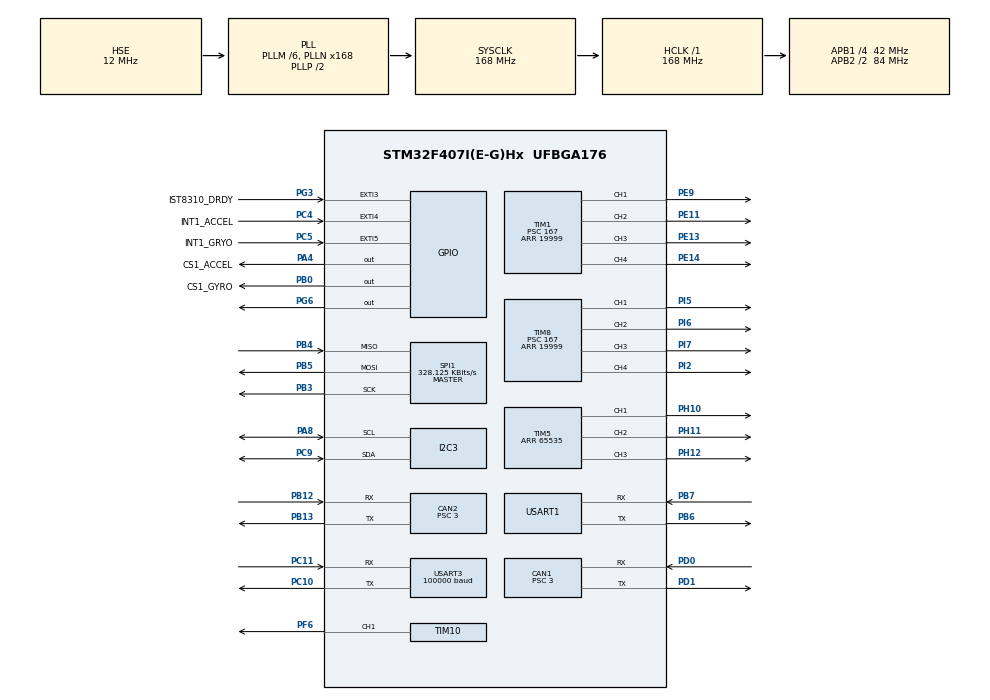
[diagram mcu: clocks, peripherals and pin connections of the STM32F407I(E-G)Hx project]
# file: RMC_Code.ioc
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CAN1.BS1=CAN_BS1_10TQ
CAN1.BS2=CAN_BS2_3TQ
CAN1.CalculateBaudRate=1000000
CAN1.CalculateTimeBit=999.99
CAN1.CalculateTimeQuantum=71.42857142857143
CAN1.Prescaler=3
CAN2.BS1=CAN_BS1_10TQ
CAN2.BS2=CAN_BS2_3TQ
CAN2.CalculateBaudRate=1000000
CAN2.CalculateTimeBit=999.99
CAN2.CalculateTimeQuantum=71.42857142857143
CAN2.Prescaler=3
Dma.Request0=USART3_RX
Dma.Request1=USART1_RX
Dma.Request2=USART1_TX
Dma.Request3=SPI1_RX
Dma.Request4=SPI1_TX
Dma.SPI1_RX.3.Direction=DMA_PERIPH_TO_MEMORY
Dma.SPI1_RX.3.FIFOMode=DMA_FIFOMODE_DISABLE
Dma.SPI1_RX.3.Instance=DMA2_Stream2
Dma.SPI1_RX.3.MemDataAlignment=DMA_MDATAALIGN_BYTE
Dma.SPI1_RX.3.MemInc=DMA_MINC_ENABLE
Dma.SPI1_RX.3.Mode=DMA_NORMAL
Dma.SPI1_RX.3.PeriphDataAlignment=DMA_PDATAALIGN_BYTE
Dma.SPI1_RX.3.PeriphInc=DMA_PINC_DISABLE
Dma.SPI1_RX.3.Priority=DMA_PRIORITY_VERY_HIGH
Dma.SPI1_TX.4.Direction=DMA_MEMORY_TO_PERIPH
Dma.SPI1_TX.4.FIFOMode=DMA_FIFOMODE_DISABLE
Dma.SPI1_TX.4.Instance=DMA2_Stream3
Dma.SPI1_TX.4.MemDataAlignment=DMA_MDATAALIGN_BYTE
Dma.SPI1_TX.4.MemInc=DMA_MINC_ENABLE
Dma.SPI1_TX.4.Mode=DMA_NORMAL
Dma.SPI1_TX.4.PeriphDataAlignment=DMA_PDATAALIGN_BYTE
Dma.SPI1_TX.4.PeriphInc=DMA_PINC_DISABLE
Dma.SPI1_TX.4.Priority=DMA_PRIORITY_VERY_HIGH
Dma.USART1_RX.1.Direction=DMA_PERIPH_TO_MEMORY
Dma.USART1_RX.1.FIFOMode=DMA_FIFOMODE_DISABLE
Dma.USART1_RX.1.Instance=DMA2_Stream5
Dma.USART1_RX.1.MemDataAlignment=DMA_MDATAALIGN_BYTE
Dma.USART1_RX.1.MemInc=DMA_MINC_ENABLE
Dma.USART1_RX.1.Mode=DMA_NORMAL
Dma.USART1_RX.1.PeriphDataAlignment=DMA_PDATAALIGN_BYTE
Dma.USART1_RX.1.PeriphInc=DMA_PINC_DISABLE
Dma.USART1_RX.1.Priority=DMA_PRIORITY_MEDIUM
Dma.USART1_TX.2.Direction=DMA_MEMORY_TO_PERIPH
Dma.USART1_TX.2.FIFOMode=DMA_FIFOMODE_DISABLE
Dma.USART1_TX.2.Instance=DMA2_Stream7
Dma.USART1_TX.2.MemDataAlignment=DMA_MDATAALIGN_BYTE
Dma.USART1_TX.2.MemInc=DMA_MINC_ENABLE
Dma.USART1_TX.2.Mode=DMA_CIRCULAR
Dma.USART1_TX.2.PeriphDataAlignment=DMA_PDATAALIGN_BYTE
Dma.USART1_TX.2.PeriphInc=DMA_PINC_DISABLE
Dma.USART1_TX.2.Priority=DMA_PRIORITY_MEDIUM
Dma.USART3_RX.0.Direction=DMA_PERIPH_TO_MEMORY
Dma.USART3_RX.0.FIFOMode=DMA_FIFOMODE_DISABLE
Dma.USART3_RX.0.Instance=DMA1_Stream1
Dma.USART3_RX.0.MemDataAlignment=DMA_MDATAALIGN_BYTE
Dma.USART3_RX.0.MemInc=DMA_MINC_ENABLE
Dma.USART3_RX.0.Mode=DMA_CIRCULAR
Dma.USART3_RX.0.PeriphDataAlignment=DMA_PDATAALIGN_BYTE
Dma.USART3_RX.0.PeriphInc=DMA_PINC_DISABLE
Dma.USART3_RX.0.Priority=DMA_PRIORITY_VERY_HIGH
FREERTOS.Tasks01=ChassisTask,48,256,ChassisTask_callback,Default,NULL,Dynamic,NULL,NULL;RemoteTask,48,128,RemoteTask_callback,Default,NULL,Dynamic,NULL,NULL;Arm_Gimbal_Task,24,256,Arm_Gimbal_Task_callback,Default,NULL,Dynamic,NULL,NULL
I2C3.I2C_Mode=I2C_Fast
Mcu.Family=STM32F4
Mcu.Name=STM32F407I(E-G)Hx
Mcu.Package=UFBGA176
NVIC.CAN1_RX0_IRQn=true\:5\:0\:false\:false\:true\:true\:true\:true
NVIC.CAN2_RX0_IRQn=true\:5\:0\:false\:false\:true\:true\:true\:true
NVIC.DMA1_Stream1_IRQn=true\:5\:0\:false\:false\:true\:true\:false\:true
NVIC.DMA2_Stream2_IRQn=true\:5\:0\:false\:false\:true\:false\:false\:true
NVIC.DMA2_Stream3_IRQn=true\:5\:0\:false\:false\:true\:true\:false\:true
NVIC.DMA2_Stream5_IRQn=true\:5\:0\:false\:false\:true\:false\:false\:true
NVIC.DMA2_Stream7_IRQn=true\:5\:0\:false\:false\:true\:true\:false\:true
NVIC.PriorityGroup=NVIC_PRIORITYGROUP_4
NVIC.TIM2_IRQn=true\:0\:0\:false\:false\:true\:false\:false\:true
NVIC.TIM8_TRG_COM_TIM14_IRQn=true\:5\:0\:false\:false\:true\:false\:true\:true
NVIC.TimeBase=TIM2_IRQn
NVIC.TimeBaseIP=TIM2
NVIC.USART3_IRQn=true\:5\:0\:false\:false\:false\:false\:true\:true
PA13.Mode=Serial_Wire
PA13.Signal=SYS_JTMS-SWDIO
PA14.Mode=Serial_Wire
PA14.Signal=SYS_JTCK-SWCLK
PA4.GPIO_Label=CS1_ACCEL
PA4.GPIO_PuPd=GPIO_PULLUP
PA4.GPIO_Speed=GPIO_SPEED_FREQ_VERY_HIGH
PA4.PinState=GPIO_PIN_SET
PA4.Signal=GPIO_Output
PA8.Mode=I2C
PA8.Signal=I2C3_SCL
PB0.GPIO_Label=CS1_GYRO
PB0.GPIO_PuPd=GPIO_PULLUP
PB0.GPIO_Speed=GPIO_SPEED_FREQ_VERY_HIGH
PB0.PinState=GPIO_PIN_SET
PB0.Signal=GPIO_Output
PB12.Mode=CAN_Activate
PB12.Signal=CAN2_RX
PB13.Mode=CAN_Activate
PB13.Signal=CAN2_TX
PB3.Mode=Full_Duplex_Master
PB3.Signal=SPI1_SCK
PB4.Mode=Full_Duplex_Master
PB4.Signal=SPI1_MISO
PB5.Mode=Full_Duplex_Master
PB5.Signal=SPI1_MOSI
PB6.Mode=Asynchronous
PB6.Signal=USART1_TX
PB7.Mode=Asynchronous
PB7.Signal=USART1_RX
PC10.Mode=Asynchronous
PC10.Signal=USART3_TX
PC11.Mode=Asynchronous
PC11.Signal=USART3_RX
PC4.GPIO_Label=INT1_ACCEL
PC4.GPIO_PuPd=GPIO_PULLUP
PC4.Signal=GPXTI4
PC5.GPIO_Label=INT1_GRYO
PC5.GPIO_PuPd=GPIO_PULLUP
PC5.Signal=GPXTI5
PC9.Mode=I2C
PC9.Signal=I2C3_SDA
PD0.Mode=CAN_Activate
PD0.Signal=CAN1_RX
PD1.Mode=CAN_Activate
PD1.Signal=CAN1_TX
PE11.Signal=S_TIM1_CH2
PE13.Signal=S_TIM1_CH3
PE14.Signal=S_TIM1_CH4
PE9.Signal=S_TIM1_CH1
PF6.GPIO_PuPd=GPIO_PULLUP
PF6.GPIO_Speed=GPIO_SPEED_FREQ_MEDIUM
PF6.Signal=S_TIM10_CH1
PG3.GPIO_Label=IST8310_DRDY
PG3.GPIO_ModeDefaultEXTI=GPIO_MODE_IT_FALLING
PG3.GPIO_PuPd=GPIO_PULLUP
PG3.Signal=GPXTI3
PG6.Signal=GPIO_Output
PH0-OSC_IN.Mode=HSE-External-Oscillator
PH0-OSC_IN.Signal=RCC_OSC_IN
PH1-OSC_OUT.Mode=HSE-External-Oscillator
PH1-OSC_OUT.Signal=RCC_OSC_OUT
PH10.Signal=S_TIM5_CH1
PH11.Signal=S_TIM5_CH2
PH12.Signal=S_TIM5_CH3
PI2.Signal=S_TIM8_CH4
PI5.Signal=S_TIM8_CH1
PI6.Signal=S_TIM8_CH2
PI7.Signal=S_TIM8_CH3
ProjectManager.HeapSize=0x200
ProjectManager.StackSize=0x400
ProjectManager.TargetToolchain=SW4STM32
RCC.48MHZClocksFreq_Value=48000000
RCC.AHBFreq_Value=168000000
RCC.APB1CLKDivider=RCC_HCLK_DIV4
RCC.APB1Freq_Value=42000000
RCC.APB1TimFreq_Value=84000000
RCC.APB2CLKDivider=RCC_HCLK_DIV2
RCC.APB2Freq_Value=84000000
RCC.APB2TimFreq_Value=168000000
RCC.CortexFreq_Value=168000000
RCC.HCLKFreq_Value=168000000
RCC.HSE_VALUE=12000000
RCC.HSI_VALUE=16000000
RCC.LSE_VALUE=32768
RCC.PLLM=6
RCC.PLLN=168
RCC.PLLQ=7
RCC.PLLSourceVirtual=RCC_PLLSOURCE_HSE
RCC.SYSCLKFreq_VALUE=168000000
RCC.SYSCLKSource=RCC_SYSCLKSOURCE_PLLCLK
RCC.VCOOutputFreq_Value=336000000
SH.S_TIM10_CH1.0=TIM10_CH1,PWM Generation1 CH1
SH.S_TIM1_CH1.0=TIM1_CH1,PWM Generation1 CH1
SH.S_TIM1_CH2.0=TIM1_CH2,PWM Generation2 CH2
SH.S_TIM1_CH3.0=TIM1_CH3,PWM Generation3 CH3
SH.S_TIM1_CH4.0=TIM1_CH4,PWM Generation4 CH4
SH.S_TIM5_CH1.0=TIM5_CH1,PWM Generation1 CH1
SH.S_TIM5_CH2.0=TIM5_CH2,PWM Generation2 CH2
SH.S_TIM5_CH3.0=TIM5_CH3,PWM Generation3 CH3
SH.S_TIM8_CH1.0=TIM8_CH1,Output Compare1 CH1
SH.S_TIM8_CH2.0=TIM8_CH2,Output Compare2 CH2
SH.S_TIM8_CH3.0=TIM8_CH3,Output Compare3 CH3
SH.S_TIM8_CH4.0=TIM8_CH4,Output Compare4 CH4
SPI1.BaudRatePrescaler=SPI_BAUDRATEPRESCALER_256
SPI1.CLKPhase=SPI_PHASE_2EDGE
SPI1.CLKPolarity=SPI_POLARITY_HIGH
SPI1.CalculateBaudRate=328.125 KBits/s
SPI1.Direction=SPI_DIRECTION_2LINES
SPI1.Mode=SPI_MODE_MASTER
SPI1.VirtualType=VM_MASTER
TIM1.Channel-PWM\ Generation1\ CH1=TIM_CHANNEL_1
TIM1.Channel-PWM\ Generation2\ CH2=TIM_CHANNEL_2
TIM1.Channel-PWM\ Generation3\ CH3=TIM_CHANNEL_3
TIM1.Channel-PWM\ Generation4\ CH4=TIM_CHANNEL_4
TIM1.Period=19999
TIM1.Prescaler=167
TIM1.Pulse-PWM\ Generation1\ CH1=2000
TIM1.Pulse-PWM\ Generation2\ CH2=2000
TIM1.Pulse-PWM\ Generation3\ CH3=2000
TIM1.Pulse-PWM\ Generation4\ CH4=2000
TIM10.Channel=TIM_CHANNEL_1
TIM10.OC1Preload_PWM=ENABLE
TIM10.Period=5000-1
TIM14.AutoReloadPreload=TIM_AUTORELOAD_PRELOAD_ENABLE
TIM14.Period=50-1
TIM14.Prescaler=8400-1
TIM5.Channel-PWM\ Generation1\ CH1=TIM_CHANNEL_1
TIM5.Channel-PWM\ Generation2\ CH2=TIM_CHANNEL_2
TIM5.Channel-PWM\ Generation3\ CH3=TIM_CHANNEL_3
TIM5.OC3Preload_PWM=ENABLE
TIM5.Period=65535
TIM5.Pulse-PWM\ Generation1\ CH1=10000
TIM5.Pulse-PWM\ Generation2\ CH2=10000
TIM5.Pulse-PWM\ Generation3\ CH3=10000
TIM8.Channel-Output\ Compare1\ CH1=TIM_CHANNEL_1
TIM8.Channel-Output\ Compare2\ CH2=TIM_CHANNEL_2
TIM8.Channel-Output\ Compare3\ CH3=TIM_CHANNEL_3
TIM8.Channel-Output\ Compare4\ CH4=TIM_CHANNEL_4
TIM8.Period=19999
TIM8.Prescaler=167
TIM8.Pulse-Output\ Compare1\ CH1=2000
TIM8.Pulse-Output\ Compare2\ CH2=2000
TIM8.Pulse-Output\ Compare3\ CH3=2000
TIM8.Pulse-Output\ Compare4\ CH4=2000
USART1.VirtualMode=VM_ASYNC
USART3.BaudRate=100000
USART3.Mode=MODE_TX_RX
USART3.VirtualMode=VM_ASYNC
VP_FREERTOS_VS_CMSIS_V2.Mode=CMSIS_V2
VP_SYS_VS_tim2.Mode=TIM2
VP_TIM10_VS_ClockSourceINT.Mode=Enable_Timer
VP_TIM14_VS_ClockSourceINT.Mode=Enable_Timer
VP_TIM1_VS_ClockSourceINT.Mode=Internal
VP_TIM5_VS_ClockSourceINT.Mode=Internal
VP_TIM8_VS_ClockSourceINT.Mode=Internal
board=custom

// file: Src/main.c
/* USER CODE BEGIN Header */
/**
  ******************************************************************************
  * @file           : main.c
  * @brief          : Main program body
  ******************************************************************************
  * @attention
  *
  * <h2><center>&copy; Copyright (c) 2019 STMicroelectronics.
  * All rights reserved.</center></h2>
  *
  * This software component is licensed by ST under BSD 3-Clause license,
  * the "License"; You may not use this file except in compliance with the
  * License. You may obtain a copy of the License at:
  *                        opensource.org/licenses/BSD-3-Clause
  *
  ******************************************************************************
  */
/* USER CODE END Header */
#include "main.h"
#include "cmsis_os.h"
#include "can.h"
#include "dma.h"
#include "i2c.h"
#include "spi.h"
#include "tim.h"
#include "usart.h"
#include "gpio.h"

/* USER CODE BEGIN Includes */
#include "CAN_receive&send.h"
#include "DBUS_remote_control.h"
#include "LED_control.h"
#include "PWM_control.h"
#include "IMU_updata.h"
#include "FIRE.h"
//#include "chassis_move1.h"
#include "MotorPID_test.h"
/* USER CODE END Includes */

void SystemClock_Config(void);
void MX_FREERTOS_Init(void);

int main(void)
{

  /* MCU Configuration--------------------------------------------------------*/

  /* Reset of all peripherals, Initializes the Flash interface and the Systick. */
  HAL_Init();

  /* Configure the system clock */
  SystemClock_Config();

  /* Initialize all configured peripherals */
  MX_GPIO_Init();
  MX_DMA_Init();
  MX_CAN1_Init();
  MX_CAN2_Init();
  MX_USART3_UART_Init();
  MX_USART1_UART_Init();
  MX_TIM5_Init();
  MX_TIM1_Init();
  MX_TIM8_Init();
  MX_SPI1_Init();
  MX_TIM10_Init();
  MX_I2C3_Init();
  MX_TIM14_Init();
  /* USER CODE BEGIN 2 */
  //????????????
	can_filter_init();								//can ??????
	remote_control_init();						//??????????
	//PWM_servo_control_init();					//PWM
	led_init();												//LED
	IMU_init();												//IMU ???????????????????
//    ChassisMove_Init();
//    MotorPID_init();
    Fire_Init();

	led_show(RED);

  /* USER CODE END 2 */

  /* Init scheduler */
  osKernelInitialize();  /* Call init function for freertos objects (in freertos.c) */
  MX_FREERTOS_Init();
  /* Start scheduler */
  osKernelStart();

  /* We should never get here as control is now taken by the scheduler */
  /* Infinite loop */
  /* USER CODE BEGIN WHILE */
  while (1)
  {
		led_show(GREEN);
		osDelay(1);

	}
    /* USER CODE END WHILE */

}

void SystemClock_Config(void)
{
  RCC_OscInitTypeDef RCC_OscInitStruct = {0};
  RCC_ClkInitTypeDef RCC_ClkInitStruct = {0};

  /** Configure the main internal regulator output voltage
  */
  __HAL_RCC_PWR_CLK_ENABLE();
  __HAL_PWR_VOLTAGESCALING_CONFIG(PWR_REGULATOR_VOLTAGE_SCALE1);
  /** Initializes the RCC Oscillators according to the specified parameters
  * in the RCC_OscInitTypeDef structure.
  */
  RCC_OscInitStruct.OscillatorType = RCC_OSCILLATORTYPE_HSE;
  RCC_OscInitStruct.HSEState = RCC_HSE_ON;
  RCC_OscInitStruct.PLL.PLLState = RCC_PLL_ON;
  RCC_OscInitStruct.PLL.PLLSource = RCC_PLLSOURCE_HSE;
  RCC_OscInitStruct.PLL.PLLM = 6;
  RCC_OscInitStruct.PLL.PLLN = 168;
  RCC_OscInitStruct.PLL.PLLP = RCC_PLLP_DIV2;
  RCC_OscInitStruct.PLL.PLLQ = 7;
  if (HAL_RCC_OscConfig(&RCC_OscInitStruct) != HAL_OK)
  {
    Error_Handler();
  }
  /** Initializes the CPU, AHB and APB buses clocks
  */
  RCC_ClkInitStruct.ClockType = RCC_CLOCKTYPE_HCLK|RCC_CLOCKTYPE_SYSCLK
                              |RCC_CLOCKTYPE_PCLK1|RCC_CLOCKTYPE_PCLK2;
  RCC_ClkInitStruct.SYSCLKSource = RCC_SYSCLKSOURCE_PLLCLK;
  RCC_ClkInitStruct.AHBCLKDivider = RCC_SYSCLK_DIV1;
  RCC_ClkInitStruct.APB1CLKDivider = RCC_HCLK_DIV4;
  RCC_ClkInitStruct.APB2CLKDivider = RCC_HCLK_DIV2;

  if (HAL_RCC_ClockConfig(&RCC_ClkInitStruct, FLASH_LATENCY_5) != HAL_OK)
  {
    Error_Handler();
  }
}

 /**
  * @brief  Period elapsed callback in non blocking mode
  * @note   This function is called  when TIM2 interrupt took place, inside
  * HAL_TIM_IRQHandler(). It makes a direct call to HAL_IncTick() to increment
  * a global variable "uwTick" used as application time base.
  * @param  htim : TIM handle
  * @retval None
  */
void HAL_TIM_PeriodElapsedCallback(TIM_HandleTypeDef *htim)
{
  if (htim->Instance == TIM2) {
    HAL_IncTick();
  }
  /* USER CODE BEGIN Callback 1 */
	if (htim->Instance == TIM14)
	{
		IMU_updata();
	}
  /* USER CODE END Callback 1 */
}

void Error_Handler(void)
{
}

/************************ (C) COPYRIGHT STMicroelectronics *****END OF FILE****/

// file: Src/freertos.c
/* USER CODE BEGIN Header */
/**
  ******************************************************************************
  * File Name          : freertos.c
  * Description        : Code for freertos applications
  ******************************************************************************
  * @attention
  *
  * <h2><center>&copy; Copyright (c) 2020 STMicroelectronics.
  * All rights reserved.</center></h2>
  *
  * This software component is licensed by ST under Ultimate Liberty license
  * SLA0044, the "License"; You may not use this file except in compliance with
  * the License. You may obtain a copy of the License at:
  *                             www.st.com/SLA0044
  *
  ******************************************************************************
  */
/* USER CODE END Header */

#include <PWM_control.h>
#include "FreeRTOS.h"
#include "task.h"
#include "main.h"
#include "cmsis_os.h"

/* USER CODE BEGIN Includes */
#include "CAN_receive&send.h"
#include "DBUS_remote_control.h"
#include "LED_control.h"
#include "IMU_updata.h"
#include "MotorPID_test.h"
#include "DegCyclePID.h"
#include "DegCyclePID_3508.h"
#include "tim.h"
#include "stm32f4xx_hal.h"
#include "stm32f4xx_hal_tim.h"
#include "PWM_control.h"
#include "FIRE.h"
/* USER CODE END Includes */

/* Definitions for ChassisTask */
osThreadId_t ChassisTaskHandle;
const osThreadAttr_t ChassisTask_attributes = {
  .name = "ChassisTask",
  .priority = (osPriority_t) osPriorityRealtime,
  .stack_size = 256 * 4
};
/* Definitions for RemoteTask */
osThreadId_t RemoteTaskHandle;
const osThreadAttr_t RemoteTask_attributes = {
  .name = "RemoteTask",
  .priority = (osPriority_t) osPriorityRealtime,
  .stack_size = 128 * 4
};
/* Definitions for Arm_Gimbal_Task */
osThreadId_t Arm_Gimbal_TaskHandle;
const osThreadAttr_t Arm_Gimbal_Task_attributes = {
  .name = "Arm_Gimbal_Task",
  .priority = (osPriority_t) osPriorityNormal,
  .stack_size = 256 * 4
};

void ChassisTask_callback(void *argument);
void RemoteTask_callback(void *argument);
void Arm_Gimbal_Task_callback(void *argument);

void MX_FREERTOS_Init(void); /* (MISRA C 2004 rule 8.1) */

void MX_FREERTOS_Init(void) {

  /* Create the thread(s) */
  /* creation of ChassisTask */
  ChassisTaskHandle = osThreadNew(ChassisTask_callback, NULL, &ChassisTask_attributes);

  /* creation of RemoteTask */
  RemoteTaskHandle = osThreadNew(RemoteTask_callback, NULL, &RemoteTask_attributes);

  /* creation of Arm_Gimbal_Task */
  Arm_Gimbal_TaskHandle = osThreadNew(Arm_Gimbal_Task_callback, NULL, &Arm_Gimbal_Task_attributes);

}

void ChassisTask_callback(void *argument)
{
  /* USER CODE BEGIN ChassisTask_callback */
    /* Infinite loop */
    int i=1050;
    int j=0;

  for(;;)
  {
// //     MotorON(RC_data.rc.ch[0],RC_data.rc.ch[1],RC_data.rc.ch[2]);
   //// MotorSetDeg_3508(90);
               i++;
               j++;

      //         Fire_test(RC_data.rc.ch[1]);

     // else if(RC_data.rc.s[1]==RC_SW_MID){
     //     FLAG=0;
     //     Fire_test(1000);
     //     if(FLAG==1)
     //         count_i=0;
     //     else
     //         count_i=1;
     //     FLAG=1;
     // }
      //         Fire_Command();
     //       __HAL_TIM_SetCompare(&htim1, TIM_CHANNEL_1,i);
     //       __HAL_TIM_SetCompare(&htim1, TIM_CHANNEL_2,i);
     //       __HAL_TIM_SetCompare(&htim1, TIM_CHANNEL_3,i);
             if(i>=1400){
                 i=1400  ;
             }
       osDelay(10);
  }
  /* USER CODE END ChassisTask_callback */
}

void RemoteTask_callback(void *argument)
{
  /* USER CODE BEGIN RemoteTask_callback */
  /* Infinite loop */
  PWM_servo_control_init();
  for(;;)
  {

   //  set_servo_angle(servo_2,0.00f);
   //  set_servo_angle(servo_3,0.00f);
   //  set_servo_angle(servo_4,0.00f);
   //  set_servo_angle(servo_5,0.00f);
   //  set_servo_angle(servo_6,0.00f);
   //  set_servo_angle(servo_7,0.00f);
   //  set_servo_angle(servo_8,0.00f);
   //osDelay(2000);
   //  set_servo_angle(servo_2,180.00f);
   //  set_servo_angle(servo_3,180.00f);
   //  set_servo_angle(servo_4,180.00f);
   //  set_servo_angle(servo_5,180.00f);
   //  set_servo_angle(servo_6,180.00f);
   //  set_servo_angle(servo_7,180.00f);
   //  set_servo_angle(servo_8,180.00f);
   //  osDelay(2000);
  }
  /* USER CODE END RemoteTask_callback */
}

void Arm_Gimbal_Task_callback(void *argument)
{
  for(;;)
  {
    osDelay(1);
  }
}

/************************ (C) COPYRIGHT STMicroelectronics *****END OF FILE****/
